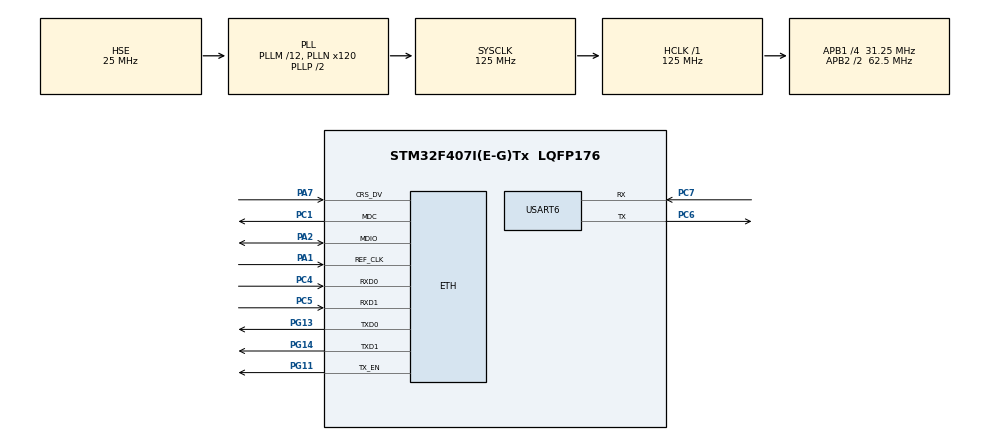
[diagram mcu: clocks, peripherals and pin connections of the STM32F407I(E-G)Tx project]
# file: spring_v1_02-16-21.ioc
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ETH.MediaInterface=ETH_MEDIA_INTERFACE_RMII
ETH.PHY_Name_RMII=DP83848_PHY_ADDRESS
FREERTOS.Tasks01=defaultTask,0,128,StartDefaultTask,Default,NULL,Dynamic,NULL,NULL
FREERTOS.configENABLE_FPU=0
Mcu.Family=STM32F4
Mcu.Name=STM32F407I(E-G)Tx
Mcu.Package=LQFP176
NVIC.ETH_IRQn=true\:5\:0\:false\:false\:true\:true\:true\:true
NVIC.PriorityGroup=NVIC_PRIORITYGROUP_4
NVIC.TIM6_DAC_IRQn=true\:0\:0\:false\:false\:true\:false\:false\:true
NVIC.TimeBase=TIM6_DAC_IRQn
NVIC.TimeBaseIP=TIM6
PA1.Mode=RMII
PA1.Signal=ETH_REF_CLK
PA13.Mode=Serial_Wire
PA13.Signal=SYS_JTMS-SWDIO
PA14.Mode=Serial_Wire
PA14.Signal=SYS_JTCK-SWCLK
PA2.Mode=RMII
PA2.Signal=ETH_MDIO
PA7.Mode=RMII
PA7.Signal=ETH_CRS_DV
PC1.Mode=RMII
PC1.Signal=ETH_MDC
PC4.Mode=RMII
PC4.Signal=ETH_RXD0
PC5.Mode=RMII
PC5.Signal=ETH_RXD1
PC6.Mode=Asynchronous
PC6.Signal=USART6_TX
PC7.Mode=Asynchronous
PC7.Signal=USART6_RX
PG11.Mode=RMII
PG11.Signal=ETH_TX_EN
PG13.Mode=RMII
PG13.Signal=ETH_TXD0
PG14.Mode=RMII
PG14.Signal=ETH_TXD1
PH0-OSC_IN.Mode=HSE-External-Oscillator
PH0-OSC_IN.Signal=RCC_OSC_IN
PH1-OSC_OUT.Mode=HSE-External-Oscillator
PH1-OSC_OUT.Signal=RCC_OSC_OUT
ProjectManager.HeapSize=0x200
ProjectManager.StackSize=0x400
ProjectManager.TargetToolchain=STM32CubeIDE
RCC.48MHZClocksFreq_Value=62500000
RCC.AHBFreq_Value=125000000
RCC.APB1CLKDivider=RCC_HCLK_DIV4
RCC.APB1Freq_Value=31250000
RCC.APB1TimFreq_Value=62500000
RCC.APB2CLKDivider=RCC_HCLK_DIV2
RCC.APB2Freq_Value=62500000
RCC.APB2TimFreq_Value=125000000
RCC.CortexFreq_Value=125000000
RCC.HCLKFreq_Value=125000000
RCC.HSE_VALUE=25000000
RCC.HSI_VALUE=16000000
RCC.LSE_VALUE=32768
RCC.PLLM=12
RCC.PLLN=120
RCC.PLLSourceVirtual=RCC_PLLSOURCE_HSE
RCC.RCC_MCO1Source=RCC_MCO1SOURCE_HSE
RCC.SYSCLKFreq_VALUE=125000000
RCC.SYSCLKSource=RCC_SYSCLKSOURCE_PLLCLK
RCC.VCOOutputFreq_Value=250000000
USART6.VirtualMode=VM_ASYNC
VP_FREERTOS_VS_CMSIS_V1.Mode=CMSIS_V1
VP_SYS_VS_tim6.Mode=TIM6
board=custom

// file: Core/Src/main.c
/* USER CODE BEGIN Header */
/**
  ******************************************************************************
  * @file           : main.c
  * @brief          : Main program body
  ******************************************************************************
  * @attention
  *
  * <h2><center>&copy; Copyright (c) 2021 STMicroelectronics.
  * All rights reserved.</center></h2>
  *
  * This software component is licensed by ST under Ultimate Liberty license
  * SLA0044, the "License"; You may not use this file except in compliance with
  * the License. You may obtain a copy of the License at:
  *                             www.st.com/SLA0044
  *
  ******************************************************************************
  */
/* USER CODE END Header */
#include "main.h"
#include "cmsis_os.h"
#include "FreeRTOS_IP.h"
#include "FreeRTOS_sockets.h"

/* USER CODE BEGIN Includes */
#include <stdio.h>
#include <stdint.h>
#include <string.h>

//#include "stm32f4xx_hal_usart.h"

/* USER CODE END Includes */

/* USER CODE BEGIN PTD */
extern BaseType_t FreeRTOS_IPInit( const uint8_t ucIPAddress[],
        const uint8_t ucNetMask[],
        const uint8_t ucGatewayAddress[],
        const uint8_t ucDNSServerAddress[],
        const uint8_t ucMACAddress[] );

//extern HAL_StatusTypeDef HAL_USART_Transmit(USART_HandleTypeDef *husart, uint8_t *pTxData, uint16_t Size, uint32_t Timeout);

/* USER CODE END PTD */

/* USER CODE BEGIN PD */
#define TRUE	1
#define FALSE	0
#define AVAILABLE TRUE
#define NOT_AVAILABLE FALSE

#define mainCREATE_TCP_ECHO_TASKS_SINGLE	0
#define mainCREATE_SIMPLE_TCP_ECHO_SERVER	1

/* USER CODE END PD */

ETH_HandleTypeDef heth;

USART_HandleTypeDef husart6;

osThreadId defaultTaskHandle;

TaskHandle_t xTaskHandle1 = NULL;
TaskHandle_t xTaskHandle2 = NULL;

char usr_msg[250];
uint8_t UART_ACCESS_KEY = AVAILABLE;

void SystemClock_Config(void);
static void MX_GPIO_Init(void);
static void MX_ETH_Init(void);
static void MX_USART6_UART_Init(void);
void StartDefaultTask(void const * argument);

static void USART6_Init(void);

void vStartTCPEchoClientTasks_SingleTasks( uint16_t usTaskStackSize, UBaseType_t uxTaskPriority );

void vTask1_handler(void *params);
void vTask2_handler(void *params);
//void printmsg(char *msg);

//static void prvSetupHardware(void);
////static void prvSetupUart(void);

/* USER CODE BEGIN 0 */
static uint8_t ucMACAddress[ 6 ] = { 0x00, 0x11, 0x22, 0x33, 0x44, 0x55 };

static const uint8_t ucIPAddress[ 4 ] = { 192, 168, 92, 18 };
static const uint8_t ucNetMask[ 4 ] = { 255, 255, 255, 0 };
static const uint8_t ucGatewayAddress[ 4 ] = { 192, 168, 92, 1 };

static const uint8_t ucDNSServerAddress[ 4 ] = { 208, 67, 222, 222 };

/* USER CODE END 0 */

int main(void)
{

  /* MCU Configuration--------------------------------------------------------*/

	/* Reset of all peripherals, Initializes the Flash interface and the Systick. */
  HAL_Init();

  /* Configure the system clock */
  SystemClock_Config();

  /* Initialize all configured peripherals */
  MX_GPIO_Init();
  MX_ETH_Init();
  USART6_Init();
  MX_USART6_UART_Init();

  /* USER CODE BEGIN 2 */
  sprintf(usr_msg,"Hello World Starting\r\n");
  HAL_USART_Transmit(&husart6, (uint8_t*)usr_msg, strlen(usr_msg), 1000);

  FreeRTOS_IPInit( ucIPAddress,
                   ucNetMask,
                   ucGatewayAddress,
                   ucDNSServerAddress,
                   ucMACAddress );

  /* USER CODE END 2 */

  /* Create the thread(s) */
  /* definition and creation of defaultTask */
//  osThreadDef(defaultTask, StartDefaultTask, osPriorityNormal, 0, 128);
//  defaultTaskHandle = osThreadCreate(osThread(defaultTask), NULL);

  /* USER CODE BEGIN RTOS_THREADS */
  /* add threads, ... */

	xTaskCreate( vTask1_handler,
				 "Task-1",
				 configMINIMAL_STACK_SIZE,
				 NULL,
				 tskIDLE_PRIORITY,
				&xTaskHandle1 );

	xTaskCreate( vTask2_handler,
				 "Task-2",
				 configMINIMAL_STACK_SIZE,
				 NULL,
				 tskIDLE_PRIORITY,
				&xTaskHandle2 );

//	xTaskCreate( vTask3_handler,
//				 "Task-3",
//				 configMINIMAL_STACK_SIZE,
//				 NULL,
//				 2,
//				&xTaskHandle2 );

  /* USER CODE END RTOS_THREADS */

  /* Start scheduler */
  osKernelStart();

  /* We should never get here as control is now taken by the scheduler */
  /* Infinite loop */
  while (1)
  {

  }
}

void SystemClock_Config(void)
{
  RCC_OscInitTypeDef RCC_OscInitStruct = {0};
  RCC_ClkInitTypeDef RCC_ClkInitStruct = {0};

  /** Configure the main internal regulator output voltage
  */
  __HAL_RCC_PWR_CLK_ENABLE();
  __HAL_PWR_VOLTAGESCALING_CONFIG(PWR_REGULATOR_VOLTAGE_SCALE1);
  /** Initializes the RCC Oscillators according to the specified parameters
  * in the RCC_OscInitTypeDef structure.
  */
  RCC_OscInitStruct.OscillatorType = RCC_OSCILLATORTYPE_HSE;
  RCC_OscInitStruct.HSEState = RCC_HSE_ON;
  RCC_OscInitStruct.PLL.PLLState = RCC_PLL_ON;
  RCC_OscInitStruct.PLL.PLLSource = RCC_PLLSOURCE_HSE;
  RCC_OscInitStruct.PLL.PLLM = 12;
  RCC_OscInitStruct.PLL.PLLN = 120;
  RCC_OscInitStruct.PLL.PLLP = RCC_PLLP_DIV2;
  RCC_OscInitStruct.PLL.PLLQ = 4;
  if (HAL_RCC_OscConfig(&RCC_OscInitStruct) != HAL_OK)
  {
    Error_Handler();
  }
  /** Initializes the CPU, AHB and APB buses clocks
  */
  RCC_ClkInitStruct.ClockType = RCC_CLOCKTYPE_HCLK|RCC_CLOCKTYPE_SYSCLK
                              |RCC_CLOCKTYPE_PCLK1|RCC_CLOCKTYPE_PCLK2;
  RCC_ClkInitStruct.SYSCLKSource = RCC_SYSCLKSOURCE_PLLCLK;
  RCC_ClkInitStruct.AHBCLKDivider = RCC_SYSCLK_DIV1;
  RCC_ClkInitStruct.APB1CLKDivider = RCC_HCLK_DIV4;
  RCC_ClkInitStruct.APB2CLKDivider = RCC_HCLK_DIV2;

  if (HAL_RCC_ClockConfig(&RCC_ClkInitStruct, FLASH_LATENCY_4) != HAL_OK)
  {
    Error_Handler();
  }
}

static void MX_ETH_Init(void)
{

  heth.Instance = ETH;
  heth.Init.AutoNegotiation = ETH_AUTONEGOTIATION_ENABLE;
  heth.Init.Speed = ETH_SPEED_100M;
  heth.Init.DuplexMode = ETH_MODE_FULLDUPLEX;
  heth.Init.PhyAddress = DP83848_PHY_ADDRESS;
  heth.Init.MACAddr[0] =   0x00;
  heth.Init.MACAddr[1] =   0x80;
  heth.Init.MACAddr[2] =   0xE1;
  heth.Init.MACAddr[3] =   0x00;
  heth.Init.MACAddr[4] =   0x00;
  heth.Init.MACAddr[5] =   0x00;
  heth.Init.RxMode = ETH_RXPOLLING_MODE;
  heth.Init.ChecksumMode = ETH_CHECKSUM_BY_HARDWARE;
  heth.Init.MediaInterface = ETH_MEDIA_INTERFACE_RMII;

  if (HAL_ETH_Init(&heth) != HAL_OK)
  {
    Error_Handler();
  }

}

static void MX_GPIO_Init(void)
{

  /* GPIO Ports Clock Enable */
  __HAL_RCC_GPIOH_CLK_ENABLE();
  __HAL_RCC_GPIOC_CLK_ENABLE();
  __HAL_RCC_GPIOA_CLK_ENABLE();
  __HAL_RCC_GPIOG_CLK_ENABLE();

}

void USART6_Init(void)
{
  GPIO_InitTypeDef GPIO_InitStruct = {0};

  GPIO_InitStruct.Pin = GPIO_PIN_6|GPIO_PIN_7;
  GPIO_InitStruct.Mode = GPIO_MODE_AF_PP;
  GPIO_InitStruct.Pull = GPIO_NOPULL;
  GPIO_InitStruct.Speed = GPIO_SPEED_FREQ_VERY_HIGH;
  GPIO_InitStruct.Alternate = GPIO_AF8_USART6;
  HAL_GPIO_Init(GPIOC, &GPIO_InitStruct);

}

static void MX_USART6_UART_Init(void)
{

  /* USER CODE BEGIN USART6_Init 0 */
	__HAL_RCC_USART6_CLK_ENABLE();
	__HAL_RCC_GPIOC_CLK_ENABLE();

  /* USER CODE END USART6_Init 0 */

  husart6.Instance = USART6;
  husart6.Init.BaudRate = 115200;
  husart6.Init.WordLength = USART_WORDLENGTH_8B;
  husart6.Init.StopBits = USART_STOPBITS_1;
  husart6.Init.Parity = USART_PARITY_NONE;
  husart6.Init.Mode = USART_MODE_TX_RX;
//  husart6.Init.HwFlowCtl = USART_HWCONTROL_NONE;
//  husart6.Init.OverSampling = USART_OVERSAMPLING_16;
  if (HAL_USART_Init(&husart6) != HAL_OK)
  {
    Error_Handler();
  }

}

/* USER CODE BEGIN 4 */
/* Called by FreeRTOS+TCP when the network connects or disconnects.  Disconnect
events are only received if implemented in the MAC driver. */
void vApplicationIPNetworkEventHook( eIPCallbackEvent_t eNetworkEvent )
{
uint32_t ulIPAddress, ulNetMask, ulGatewayAddress, ulDNSServerAddress;
char cBuffer[ 16 ];
static BaseType_t xTasksAlreadyCreated = pdFALSE;

FreeRTOS_printf( ( "vApplicationIPNetworkEventHook: event %ld\n", eNetworkEvent ) );

//	showMemories();  //stsh
	/* If the network has just come up...*/
	if( eNetworkEvent == eNetworkUp )
	{
		/* Create the tasks that use the IP stack if they have not already been
		created. */
		if( xTasksAlreadyCreated == pdFALSE )
		{
			/* Tasks that use the TCP/IP stack can be created here. */

			#if( mainCREATE_TCP_ECHO_TASKS_SINGLE == 1 )
			{
				/* See http://www.freertos.org/FreeRTOS-Plus/FreeRTOS_Plus_TCP/TCP_Echo_Clients.html */
				vStartTCPEchoClientTasks_SingleTasks( configMINIMAL_STACK_SIZE * 4, tskIDLE_PRIORITY + 1 );
			}
			#endif

			#if( mainCREATE_SIMPLE_TCP_ECHO_SERVER == 1 )
			{
				/* See http://www.freertos.org/FreeRTOS-Plus/FreeRTOS_Plus_TCP/TCP_Echo_Server.html */
				vStartSimpleTCPServerTasks( configMINIMAL_STACK_SIZE * 2, /*tskIDLE_PRIORITY + 1*/osPriorityLow );			//stack was x by 4
			}
			#endif

			#if( ( mainCREATE_FTP_SERVER == 1 ) || ( mainCREATE_HTTP_SERVER == 1 ) )
			{
				/* See TBD.
				Let the server work task now it can now create the servers. */
				xTaskNotifyGive( xServerWorkTaskHandle );
				xTaskNotifyGive( xCommandTaskHandle );
			}
			#endif

			/* Start a new task to fetch logging lines and send them out. */
//			vUDPLoggingTaskCreate();	//stsh

			xTasksAlreadyCreated = pdTRUE;
		}

		/* Print out the network configuration, which may have come from a DHCP
		server. */
		FreeRTOS_GetAddressConfiguration( &ulIPAddress, &ulNetMask, &ulGatewayAddress, &ulDNSServerAddress );
		FreeRTOS_inet_ntoa( ulIPAddress, cBuffer );
		FreeRTOS_printf( ( "IP Address: %s\n", cBuffer ) );

		FreeRTOS_inet_ntoa( ulNetMask, cBuffer );
		FreeRTOS_printf( ( "Subnet Mask: %s\n", cBuffer ) );

		FreeRTOS_inet_ntoa( ulGatewayAddress, cBuffer );
		FreeRTOS_printf( ( "Gateway Address: %s\n", cBuffer ) );

		FreeRTOS_inet_ntoa( ulDNSServerAddress, cBuffer );
		FreeRTOS_printf( ( "DNS Server Address: %s\n", cBuffer ) );
	}
}

//void vAssertCalled( unsigned long ulLine, const char * const pcFileName )
//{
//static BaseType_t xPrinted = pdFALSE;
//volatile uint32_t ulSetToNonZeroInDebuggerToContinue = 1;		//was 0
//
//	/* Called if an assertion passed to configASSERT() fails.  See
//	http://www.freertos.org/a00110.html#configASSERT for more information. */
//
//	/* Parameters are not used. */
//	( void ) ulLine;
//	( void ) pcFileName;
//
//
// 	taskENTER_CRITICAL();
//	{
//		/* Stop the trace recording. */
//		if( xPrinted == pdFALSE )
//		{
//			xPrinted = pdTRUE;
//			if( xTraceRunning == pdTRUE )  //stsh
//			{
//				prvSaveTraceFile();
//			}
//		}
//
//		/* You can step out of this function to debug the assertion by using
//		the debugger to set ulSetToNonZeroInDebuggerToContinue to a non-zero
//		value. */
//		while( ulSetToNonZeroInDebuggerToContinue == 0 )
//		{
//			__asm volatile( "NOP" );
//			__asm volatile( "NOP" );
//		}
//	}
//	taskEXIT_CRITICAL();
//}

//void vApplicationMallocFailedHook( void )
//{
//	/* vApplicationMallocFailedHook() will only be called if
//	configUSE_MALLOC_FAILED_HOOK is set to 1 in FreeRTOSConfig.h.  It is a hook
//	function that will get called if a call to pvPortMalloc() fails.
//	pvPortMalloc() is called internally by the kernel whenever a task, queue,
//	timer or semaphore is created.  It is also called by various parts of the
//	demo application.  If heap_1.c, heap_2.c or heap_4.c is being used, then the
//	size of the	heap available to pvPortMalloc() is defined by
//	configTOTAL_HEAP_SIZE in FreeRTOSConfig.h, and the xPortGetFreeHeapSize()
//	API function can be used to query the size of free heap space that remains
//	(although it does not provide information on how the remaining heap might be
//	fragmented).  See http://www.freertos.org/a00111.html for more
//	information. */
//	vAssertCalled( __LINE__, __FILE__ );
//}

/* USER CODE END 4 */

void StartDefaultTask(void const * argument)
{
  /* USER CODE BEGIN 5 */

//  vCreateTCPServerSocket();

  /* Infinite loop */
  for(;;)
  {
    osDelay(1);
  }
}

  void vTask1_handler(void *params)
  {
  	while(1)
  	{
  		if (UART_ACCESS_KEY == AVAILABLE)
  		{
  			UART_ACCESS_KEY = NOT_AVAILABLE;
			sprintf(usr_msg,"Hello Task-1----------****\r\n");
			HAL_USART_Transmit(&husart6, (uint8_t*)usr_msg, strlen(usr_msg), 1000);

  			UART_ACCESS_KEY = AVAILABLE;

  //			SEGGER_SYSVIEW_Print("Task1 is yielding");
  //			traceISR_EXIT_TO_SCHEDULER();

  			taskYIELD();
  		}
  	}
  }

  void vTask2_handler(void *params)
  {
  	while(1)
  	{
  		if (UART_ACCESS_KEY == AVAILABLE)
  		{
  			UART_ACCESS_KEY = NOT_AVAILABLE;
			sprintf(usr_msg,"Hello Task-2=====================\r\n");
			HAL_USART_Transmit(&husart6, (uint8_t*)usr_msg, strlen(usr_msg), 1000);

  			UART_ACCESS_KEY = AVAILABLE;

  //			SEGGER_SYSVIEW_Print("Task2 is yielding");
  //			traceISR_EXIT_TO_SCHEDULER();

  			taskYIELD();
  		}
  	}
  }

//  void vTask3_handler(void *params)
//  {
//		vCreateTCPServerSocket();
//
//  	while(1)
//  	{
//  		if (UART_ACCESS_KEY == AVAILABLE)
//  		{
//  			UART_ACCESS_KEY = NOT_AVAILABLE;
//			sprintf(usr_msg,"Hello Task-3=====================\r\n");
//			HAL_USART_Transmit(&husart6, (uint8_t*)usr_msg, strlen(usr_msg), 1000);
//
//  			UART_ACCESS_KEY = AVAILABLE;
//
//  //			SEGGER_SYSVIEW_Print("Task2 is yielding");
//  //			traceISR_EXIT_TO_SCHEDULER();
//
//  			taskYIELD();
//  		}
//  	}
//  }

  /* USER CODE END 5 */
//}

 /**
  * @brief  Period elapsed callback in non blocking mode
  * @note   This function is called  when TIM6 interrupt took place, inside
  * HAL_TIM_IRQHandler(). It makes a direct call to HAL_IncTick() to increment
  * a global variable "uwTick" used as application time base.
  * @param  htim : TIM handle
  * @retval None
  */
  /* USER CODE BEGIN Callback 0 */
void HAL_TIM_PeriodElapsedCallback(TIM_HandleTypeDef *htim)
{

  if (htim->Instance == TIM6) {
    HAL_IncTick();
  }
  /* USER CODE END Callback 0 */
  if (htim->Instance == TIM6) {
    HAL_IncTick();
  }
}

void Error_Handler(void)
{
  __disable_irq();
  while (1)
  {
  }
}

/************************ (C) COPYRIGHT STMicroelectronics *****END OF FILE****/
